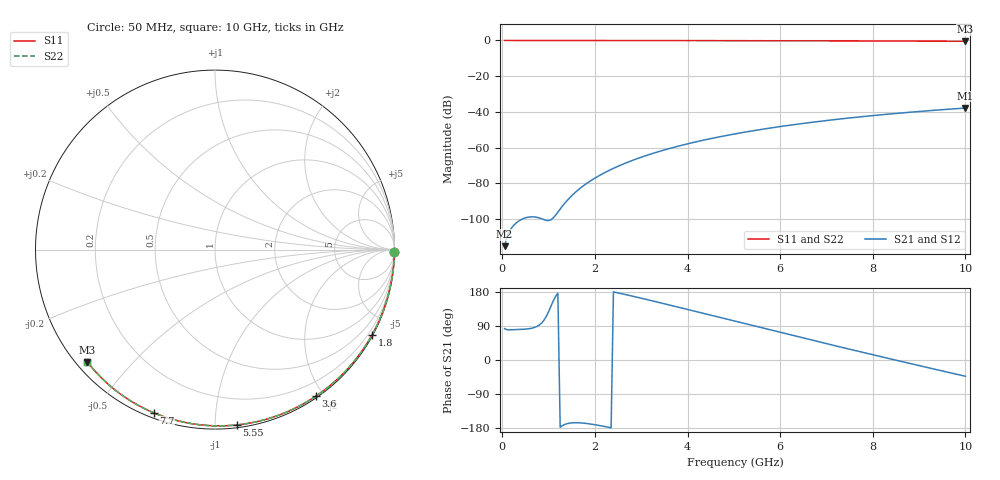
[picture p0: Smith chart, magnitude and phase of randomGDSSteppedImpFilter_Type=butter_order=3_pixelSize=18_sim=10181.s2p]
! freq	dB(S11)	phase(S11)	dB(S12)	phase(S12)
!  dB(S21)	phase(S21)	dB(S22)	phase(S22)
!S-par simulation data
#  GHz  S  DB  R 50
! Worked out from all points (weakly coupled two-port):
!   200 points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, 50 MHz to 10 GHz, reference 50 ohm
!   highest |S21| = -37.85 dB at 10 GHz (marker M1); lowest = -115.2 dB at 50 MHz (marker M2)
!   lowest |S11| = -0.5 dB at 10 GHz (marker M3), VSWR 36.89, Z = 1.55 - j18.9 ohm
!   |S11| at or under -10 dB: nowhere
!   |S22| runs from -0.5 to 0.0 dB; largest |S21 - S12| = 0
!   S11 on the Smith chart (normalised r, x): 50 MHz: open; 1.8 GHz: 0.03, -3.95; 3.6 GHz: 0.02, -1.90; 5.55 GHz: 0.02, -1.13; 7.7 GHz: 0.02, -0.69; 10 GHz: 0.03, -0.38
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0.05  -0.00 -0.8  -115.25 82.7  -115.25 82.7  -0.00 -0.8
0.45  -0.01 -7.2  -99.83 81.0  -99.83 81.0  -0.01 -7.2
0.9  -0.02 -14.4  -100.39 105.1  -100.39 105.1  -0.02 -14.4
1.75  -0.04 -27.7  -81.44 -166.6  -81.44 -166.6  -0.04 -27.7
1.8  -0.04 -28.4  -80.49 -167.2  -80.49 -167.2  -0.04 -28.4
1.85  -0.04 -29.2  -79.59 -168.0  -79.59 -168.0  -0.04 -29.2
2.05  -0.04 -32.3  -76.34 -171.8  -76.34 -171.8  -0.04 -32.3
2.25  -0.05 -35.4  -73.53 -176.4  -73.53 -176.4  -0.05 -35.4
2.55  -0.05 -39.9  -69.90 175.8  -69.90 175.8  -0.05 -39.9
2.95  -0.06 -45.9  -65.86 164.5  -65.86 164.5  -0.06 -45.9
3.4  -0.07 -52.6  -62.08 151.4  -62.08 151.4  -0.07 -52.6
3.6  -0.07 -55.5  -60.60 145.4  -60.60 145.4  -0.07 -55.5
3.9  -0.08 -59.9  -58.55 136.4  -58.55 136.4  -0.08 -59.9
4.3  -0.09 -65.6  -56.11 124.3  -56.11 124.3  -0.09 -65.6
5.05  -0.12 -76.1  -52.22 101.5  -52.22 101.5  -0.12 -76.0
5.55  -0.14 -82.8  -50.02 86.4  -50.02 86.4  -0.14 -82.8
6.1  -0.16 -90.2  -47.87 69.9  -47.87 69.9  -0.16 -90.1
6.7  -0.19 -98.0  -45.81 52.0  -45.81 52.0  -0.19 -97.9
7.7  -0.25 -110.6  -42.87 22.6  -42.87 22.6  -0.25 -110.6
8.35  -0.30 -118.6  -41.24 3.8  -41.24 3.8  -0.30 -118.6
9.2  -0.38 -129.0  -39.38 -20.4  -39.38 -20.4  -0.38 -129.0
10  -0.47 -138.6  -37.85 -42.9  -37.85 -42.9  -0.47 -138.6
